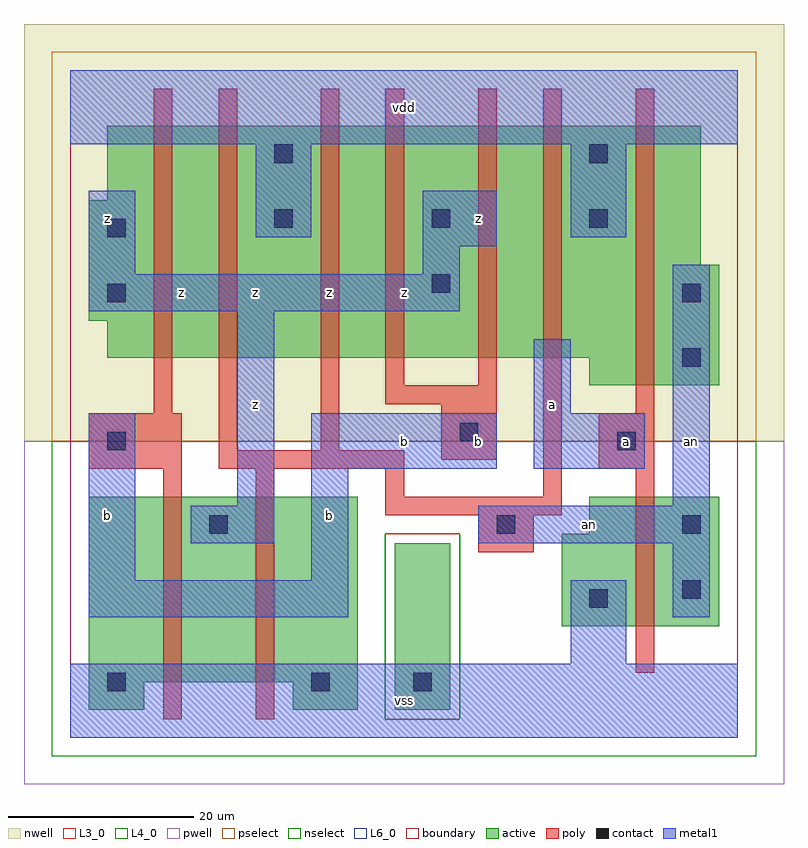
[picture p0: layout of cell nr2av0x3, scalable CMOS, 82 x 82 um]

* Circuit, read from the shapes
.subckt nr2av0x3 a an b vdd vss z
M1 z b vss vss nfet w=20u l=2u
M2 vss an z vss nfet w=20u l=2u
M3 an a vss vss nfet w=14u l=2u
M4 n1 b z n2 pfet w=25u l=2u
M5 vdd an n1 n2 pfet w=25u l=2u
M6 n3 an vdd n2 pfet w=25u l=2u
M7 z b n3 n2 pfet w=25u l=2u
M8 n4 b z n2 pfet w=25u l=2u
M9 vdd an n4 n2 pfet w=25u l=2u
M10 an a vdd n2 pfet w=28u l=2u
.ends

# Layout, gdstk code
import gdstk
lib = gdstk.Library(unit=1e-6, precision=1e-09)
def R(c, l, rs):  # rectangles x0, y0, x1, y1
    for r in rs: c.add(gdstk.rectangle(r[:2], r[2:], *l))
def A(c, l, x, y, w, h, nx, ny, dx, dy):  # array of equal rectangles
    R(c, l, [(x+i*dx, y+j*dy, x+i*dx+w, y+j*dy+h) for i in range(nx) for j in range(ny)])
L3_0 = (3, 0)
L4_0 = (4, 0)
L6_0 = (6, 0)
contact = (25, 0)
pwell = (41, 0)
nwell = (42, 0)
active = (43, 0)
pselect = (44, 0)
nselect = (45, 0)
poly = (46, 0)
metal1 = (49, 0)
boundary = (63, 0)

nr2av0x3 = lib.new_cell('nr2av0x3')
R(nr2av0x3, L3_0, [(2,3,8,6), (24,3,31,6), (2,6,31,26), (53,12,70,22), (56,22,70,26)])
R(nr2av0x3, L4_0, [(56,38,70,41), (4,41,70,45), (2,45,70,51), (2,51,68,58), (4,58,68,66)])
R(nr2av0x3, L6_0, [(35,3,41,21)])
A(nr2av0x3, contact, 22, 55, 2, 2, 3, 1, 17, 0)
R(nr2av0x3, contact, [(4,5,6,7), (26,5,28,7), (37,5,39,7), (56,14,58,16), (66,15,68,17), (15,22,17,24), (46,22,48,24), (66,22,68,24), (4,31,6,33), (59,31,61,33), (42,32,44,34), (66,40,68,42), (4,47,6,49), (66,47,68,49), (39,48,41,50), (4,54,6,56), (22,62,24,64), (56,62,58,64)])
R(nr2av0x3, pwell, [(-5,-5,77,32)])
R(nr2av0x3, nwell, [(-5,32,77,77)])
R(nr2av0x3, active, [(2,3,8,6), (24,3,31,6), (35,3,41,21), (2,6,31,26), (53,12,70,22), (56,22,70,26), (56,38,70,41), (4,41,70,45), (2,45,70,51), (2,51,68,58), (4,58,68,66)])
R(nr2av0x3, pselect, [(34,2,42,22), (-2,32,74,74)])
R(nr2av0x3, nselect, [(-2,-2,74,2), (-2,2,34,22), (42,2,74,22), (-2,22,74,32)])
R(nr2av0x3, poly, [(10,2,12,29), (20,2,22,29), (61,7,63,29), (44,20,50,24), (34,24,53,26), (34,26,36,29), (51,26,53,70), (2,29,12,35), (16,29,36,31), (57,29,63,35), (40,30,46,36), (16,31,18,70), (27,31,29,70), (9,35,11,70), (61,35,63,70), (34,36,46,38), (34,38,36,70), (44,38,46,70)])
R(nr2av0x3, metal1, [(0,0,72,8), (54,8,60,17), (2,13,30,17), (65,13,69,21), (2,17,7,35), (26,17,30,29), (13,21,22,25), (44,21,69,25), (18,25,22,46), (65,25,69,51), (26,29,46,35), (50,29,62,35), (50,35,54,43), (2,46,42,50), (2,50,7,59), (38,50,42,53), (38,53,46,59), (20,54,26,64), (54,54,60,64), (0,64,72,72)])
R(nr2av0x3, boundary, [(0,0,72,72)])
nr2av0x3.add(gdstk.Label('an', (56,23), layer=49, texttype=0))
nr2av0x3.add(gdstk.Label('an', (67,32), layer=49, texttype=0))
nr2av0x3.add(gdstk.Label('b', (4,24), layer=49, texttype=0))
nr2av0x3.add(gdstk.Label('z', (12,48), layer=49, texttype=0))
nr2av0x3.add(gdstk.Label('z', (4,56), layer=49, texttype=0))
nr2av0x3.add(gdstk.Label('b', (28,24), layer=49, texttype=0))
nr2av0x3.add(gdstk.Label('z', (20,36), layer=49, texttype=0))
nr2av0x3.add(gdstk.Label('z', (20,48), layer=49, texttype=0))
nr2av0x3.add(gdstk.Label('z', (28,48), layer=49, texttype=0))
nr2av0x3.add(gdstk.Label('vss', (36,4), layer=49, texttype=0))
nr2av0x3.add(gdstk.Label('b', (36,32), layer=49, texttype=0))
nr2av0x3.add(gdstk.Label('b', (44,32), layer=49, texttype=0))
nr2av0x3.add(gdstk.Label('a', (52,36), layer=49, texttype=0))
nr2av0x3.add(gdstk.Label('z', (36,48), layer=49, texttype=0))
nr2av0x3.add(gdstk.Label('z', (44,56), layer=49, texttype=0))
nr2av0x3.add(gdstk.Label('vdd', (36,68), layer=49, texttype=0))
nr2av0x3.add(gdstk.Label('a', (60,32), layer=49, texttype=0))

lib.write_gds('nr2av0x3.gds')
